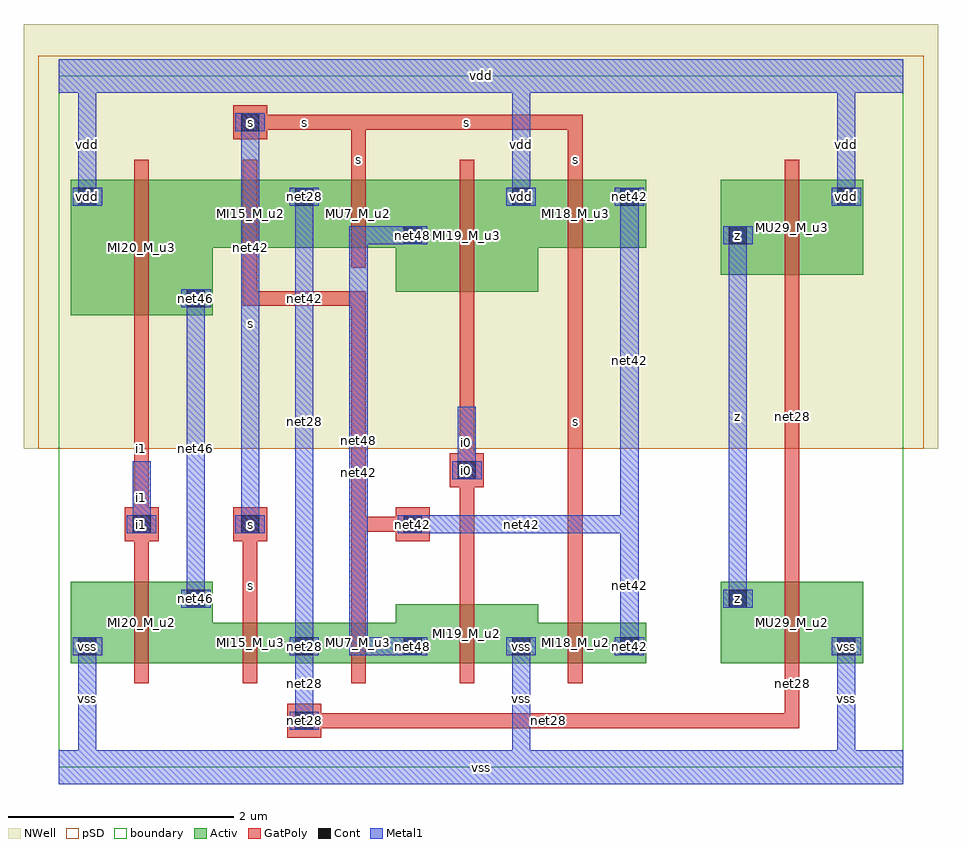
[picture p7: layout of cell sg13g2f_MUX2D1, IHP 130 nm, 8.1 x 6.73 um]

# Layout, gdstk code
import gdstk
lib = gdstk.Library(unit=1e-6, precision=1e-09)
def R(c, l, rs):  # rectangles x0, y0, x1, y1
    for r in rs: c.add(gdstk.rectangle(r[:2], r[2:], *l))
def A(c, l, x, y, w, h, nx, ny, dx, dy):  # array of equal rectangles
    R(c, l, [(x+i*dx, y+j*dy, x+i*dx+w, y+j*dy+h) for i in range(nx) for j in range(ny)])
Activ = (1, 0)
GatPoly = (5, 0)
Cont = (6, 0)
Metal1 = (8, 0)
pSD = (14, 0)
NWell = (31, 0)
TEXT = (63, 0)
boundary = (189, 4)

sg13g2f_mux2d1 = lib.new_cell('sg13g2f_MUX2D1')
A(sg13g2f_mux2d1, Activ, 2.025, 0.92, 0.3, 0.3, 4, 1, 0.96, 0)
A(sg13g2f_mux2d1, Activ, 0.105, 4.9, 0.3, 0.3, 3, 1, 1.92, 0)
R(sg13g2f_mux2d1, Activ, [(0.105,0.92,1.365,1.64), (0.105,0.92,0.405,1.22), (1.065,0.92,2.325,1.28), (2.025,0.92,3.285,1.28), (2.985,0.92,4.245,1.44), (3.945,0.92,5.205,1.28), (5.865,0.92,7.125,1.64), (6.825,0.92,7.125,1.22), (1.065,1.34,1.365,1.64), (5.865,1.34,6.165,1.64), (0.105,4,1.365,5.2), (1.065,4,1.365,4.3), (2.985,4.21,4.245,5.2), (5.865,4.36,7.125,5.2), (2.985,4.56,3.285,4.86), (5.865,4.56,6.165,4.86), (1.065,4.6,2.325,5.2), (2.025,4.6,3.285,5.2), (3.945,4.6,5.205,5.2), (4.905,4.9,5.205,5.2), (6.825,4.9,7.125,5.2)])
R(sg13g2f_mux2d1, GatPoly, [(2.025,0.26,2.325,0.56), (2.11,0.345,6.56,0.475), (6.43,0.345,6.56,1.135), (0.67,0.74,0.8,1.82), (1.63,0.74,1.76,1.46), (2.59,0.74,2.72,1.46), (3.55,0.74,3.68,1.62), (4.51,0.74,4.64,1.46), (6.43,0.74,6.56,1.82), (1.63,1.005,1.76,2.215), (2.59,1.005,2.72,4.215), (3.55,1.005,3.68,4.775), (4.51,1.005,4.64,5.115), (0.67,1.425,0.8,4.215), (6.43,1.425,6.56,4.775), (0.585,2,0.885,2.3), (1.545,2,1.845,2.3), (2.985,2,3.285,2.3), (2.59,2.085,3.2,2.215), (3.465,2.48,3.765,2.78), (0.67,3.82,0.8,5.38), (3.55,4.03,3.68,5.38), (1.63,4.085,2.72,4.215), (1.63,4.085,1.76,5.115), (6.43,4.18,6.56,5.38), (1.63,4.42,1.76,5.38), (2.59,4.42,2.72,5.38), (4.51,4.42,4.64,5.38), (2.59,4.985,2.72,5.775), (4.51,4.985,4.64,5.775), (1.545,5.56,1.845,5.86), (1.63,5.645,2.72,5.775), (2.59,5.645,4.64,5.775)])
A(sg13g2f_mux2d1, Cont, 2.095, 0.99, 0.16, 0.16, 4, 1, 0.96, 0)
A(sg13g2f_mux2d1, Cont, 0.175, 4.97, 0.16, 0.16, 3, 1, 1.92, 0)
R(sg13g2f_mux2d1, Cont, [(2.095,0.33,2.255,0.49), (0.175,0.99,0.335,1.15), (6.895,0.99,7.055,1.15), (1.135,1.41,1.295,1.57), (5.935,1.41,6.095,1.57), (0.655,2.07,0.815,2.23), (1.615,2.07,1.775,2.23), (3.055,2.07,3.215,2.23), (3.535,2.55,3.695,2.71), (1.135,4.07,1.295,4.23), (3.055,4.63,3.215,4.79), (5.935,4.63,6.095,4.79), (4.975,4.97,5.135,5.13), (6.895,4.97,7.055,5.13), (1.615,5.63,1.775,5.79)])
A(sg13g2f_mux2d1, Metal1, 2.045, 0.99, 0.26, 0.16, 4, 1, 0.96, 0)
A(sg13g2f_mux2d1, Metal1, 0.125, 4.97, 0.26, 0.16, 3, 1, 1.92, 0)
R(sg13g2f_mux2d1, Metal1, [(0,-0.15,7.48,0.15), (0.175,0.07,0.335,1.15), (4.015,0.07,4.175,1.15), (6.895,0.07,7.055,1.15), (2.045,0.33,2.305,0.49), (2.095,0.33,2.255,1.15), (0.125,0.99,0.385,1.15), (2.095,0.99,2.255,5.13), (2.575,0.99,3.215,1.15), (2.575,0.99,2.735,4.79), (4.975,0.99,5.135,2.23), (6.845,0.99,7.105,1.15), (1.085,1.41,1.345,1.57), (1.135,1.41,1.295,4.23), (5.885,1.41,6.145,1.57), (5.935,1.41,6.095,4.79), (0.605,2.07,0.865,2.23), (0.655,2.07,0.815,2.71), (1.565,2.07,1.825,2.23), (1.615,2.07,1.775,5.79), (3.005,2.07,3.265,2.23), (3.055,2.07,5.135,2.23), (4.975,2.07,5.135,5.13), (3.485,2.55,3.745,2.71), (3.535,2.55,3.695,3.19), (1.085,4.07,1.345,4.23), (2.575,4.63,3.215,4.79), (3.005,4.63,3.265,4.79), (5.885,4.63,6.145,4.79), (0.175,4.97,0.335,6.05), (4.015,4.97,4.175,6.05), (4.925,4.97,5.185,5.13), (6.845,4.97,7.105,5.13), (6.895,4.97,7.055,6.05), (1.565,5.63,1.825,5.79), (0,5.97,7.48,6.27)])
R(sg13g2f_mux2d1, pSD, [(-0.18,2.82,7.66,5.94), (-0.18,5.94,7.66,6.3)])
R(sg13g2f_mux2d1, NWell, [(-0.31,2.82,7.79,6.58)])
R(sg13g2f_mux2d1, boundary, [(0,0,7.48,6.12)])
sg13g2f_mux2d1.add(gdstk.FlexPath([(0.105,0.41),(7.125,0.41)], 0, ends="flush", simple_path=True, layer=63, datatype=0))  # TEXT
sg13g2f_mux2d1.add(gdstk.FlexPath([(0.105,1.07),(7.125,1.07)], 0, ends="flush", simple_path=True, layer=63, datatype=0))  # TEXT
sg13g2f_mux2d1.add(gdstk.FlexPath([(0.105,1.49),(7.125,1.49)], 0, ends="flush", simple_path=True, layer=63, datatype=0))  # TEXT
sg13g2f_mux2d1.add(gdstk.FlexPath([(0.105,2.15),(7.125,2.15)], 0, ends="flush", simple_path=True, layer=63, datatype=0))  # TEXT
sg13g2f_mux2d1.add(gdstk.FlexPath([(0.105,2.63),(7.125,2.63)], 0, ends="flush", simple_path=True, layer=63, datatype=0))  # TEXT
sg13g2f_mux2d1.add(gdstk.FlexPath([(0.105,3.11),(7.125,3.11)], 0, ends="flush", simple_path=True, layer=63, datatype=0))  # TEXT
sg13g2f_mux2d1.add(gdstk.FlexPath([(0.105,4.15),(7.125,4.15)], 0, ends="flush", simple_path=True, layer=63, datatype=0))  # TEXT
sg13g2f_mux2d1.add(gdstk.FlexPath([(0.105,4.71),(7.125,4.71)], 0, ends="flush", simple_path=True, layer=63, datatype=0))  # TEXT
sg13g2f_mux2d1.add(gdstk.FlexPath([(0.105,5.05),(7.125,5.05)], 0, ends="flush", simple_path=True, layer=63, datatype=0))  # TEXT
sg13g2f_mux2d1.add(gdstk.FlexPath([(0.105,5.71),(7.125,5.71)], 0, ends="flush", simple_path=True, layer=63, datatype=0))  # TEXT
sg13g2f_mux2d1.add(gdstk.FlexPath([(0.255,0.07),(0.255,6.05)], 0, ends="flush", simple_path=True, layer=63, datatype=0))  # TEXT
sg13g2f_mux2d1.add(gdstk.FlexPath([(0.735,0.07),(0.735,6.05)], 0, ends="flush", simple_path=True, layer=63, datatype=0))  # TEXT
sg13g2f_mux2d1.add(gdstk.FlexPath([(1.215,0.07),(1.215,6.05)], 0, ends="flush", simple_path=True, layer=63, datatype=0))  # TEXT
sg13g2f_mux2d1.add(gdstk.FlexPath([(1.695,0.07),(1.695,6.05)], 0, ends="flush", simple_path=True, layer=63, datatype=0))  # TEXT
sg13g2f_mux2d1.add(gdstk.FlexPath([(2.175,0.07),(2.175,6.05)], 0, ends="flush", simple_path=True, layer=63, datatype=0))  # TEXT
sg13g2f_mux2d1.add(gdstk.FlexPath([(2.655,0.07),(2.655,6.05)], 0, ends="flush", simple_path=True, layer=63, datatype=0))  # TEXT
sg13g2f_mux2d1.add(gdstk.FlexPath([(3.135,0.07),(3.135,6.05)], 0, ends="flush", simple_path=True, layer=63, datatype=0))  # TEXT
sg13g2f_mux2d1.add(gdstk.FlexPath([(3.615,0.07),(3.615,6.05)], 0, ends="flush", simple_path=True, layer=63, datatype=0))  # TEXT
sg13g2f_mux2d1.add(gdstk.FlexPath([(4.095,0.07),(4.095,6.05)], 0, ends="flush", simple_path=True, layer=63, datatype=0))  # TEXT
sg13g2f_mux2d1.add(gdstk.FlexPath([(4.575,0.07),(4.575,6.05)], 0, ends="flush", simple_path=True, layer=63, datatype=0))  # TEXT
sg13g2f_mux2d1.add(gdstk.FlexPath([(5.055,0.07),(5.055,6.05)], 0, ends="flush", simple_path=True, layer=63, datatype=0))  # TEXT
sg13g2f_mux2d1.add(gdstk.FlexPath([(5.535,0.07),(5.535,6.05)], 0, ends="flush", simple_path=True, layer=63, datatype=0))  # TEXT
sg13g2f_mux2d1.add(gdstk.FlexPath([(6.015,0.07),(6.015,6.05)], 0, ends="flush", simple_path=True, layer=63, datatype=0))  # TEXT
sg13g2f_mux2d1.add(gdstk.FlexPath([(6.495,0.07),(6.495,6.05)], 0, ends="flush", simple_path=True, layer=63, datatype=0))  # TEXT
sg13g2f_mux2d1.add(gdstk.FlexPath([(6.975,0.07),(6.975,6.05)], 0, ends="flush", simple_path=True, layer=63, datatype=0))  # TEXT
sg13g2f_mux2d1.add(gdstk.Label('net46', (1.215,1.49), layer=6, texttype=0))
sg13g2f_mux2d1.add(gdstk.Label('net46', (1.215,4.15), layer=6, texttype=0))
sg13g2f_mux2d1.add(gdstk.Label('s', (1.695,2.15), layer=6, texttype=0))
sg13g2f_mux2d1.add(gdstk.Label('s', (1.695,5.71), layer=6, texttype=0))
sg13g2f_mux2d1.add(gdstk.Label('net28', (2.175,1.07), layer=6, texttype=0))
sg13g2f_mux2d1.add(gdstk.Label('net28', (2.175,5.05), layer=6, texttype=0))
sg13g2f_mux2d1.add(gdstk.Label('net28', (2.175,0.41), layer=6, texttype=0))
sg13g2f_mux2d1.add(gdstk.Label('net48', (3.135,1.07), layer=6, texttype=0))
sg13g2f_mux2d1.add(gdstk.Label('net48', (3.135,4.71), layer=6, texttype=0))
sg13g2f_mux2d1.add(gdstk.Label('net42', (5.055,1.07), layer=6, texttype=0))
sg13g2f_mux2d1.add(gdstk.Label('net42', (5.055,5.05), layer=6, texttype=0))
sg13g2f_mux2d1.add(gdstk.Label('net42', (3.135,2.15), layer=6, texttype=0))
sg13g2f_mux2d1.add(gdstk.Label('i1', (0.735,2.15), layer=6, texttype=0))
sg13g2f_mux2d1.add(gdstk.Label('i0', (3.615,2.63), layer=6, texttype=0))
sg13g2f_mux2d1.add(gdstk.Label('z', (6.015,1.49), layer=6, texttype=0))
sg13g2f_mux2d1.add(gdstk.Label('z', (6.015,4.71), layer=6, texttype=0))
sg13g2f_mux2d1.add(gdstk.Label('vss', (0.255,1.07), layer=6, texttype=0))
sg13g2f_mux2d1.add(gdstk.Label('vss', (4.095,1.07), layer=6, texttype=0))
sg13g2f_mux2d1.add(gdstk.Label('vss', (6.975,1.07), layer=6, texttype=0))
sg13g2f_mux2d1.add(gdstk.Label('vdd', (0.255,5.05), layer=6, texttype=0))
sg13g2f_mux2d1.add(gdstk.Label('vdd', (4.095,5.05), layer=6, texttype=0))
sg13g2f_mux2d1.add(gdstk.Label('vdd', (6.975,5.05), layer=6, texttype=0))
sg13g2f_mux2d1.add(gdstk.Label('net46', (1.215,1.49), layer=8, texttype=0))
sg13g2f_mux2d1.add(gdstk.Label('net46', (1.215,4.15), layer=8, texttype=0))
sg13g2f_mux2d1.add(gdstk.Label('net46', (1.215,2.82), layer=8, texttype=0))
sg13g2f_mux2d1.add(gdstk.Label('net28', (2.175,1.07), layer=8, texttype=0))
sg13g2f_mux2d1.add(gdstk.Label('net28', (2.175,5.05), layer=8, texttype=0))
sg13g2f_mux2d1.add(gdstk.Label('net28', (2.175,0.74), layer=8, texttype=0))
sg13g2f_mux2d1.add(gdstk.Label('net28', (2.175,0.41), layer=8, texttype=0))
sg13g2f_mux2d1.add(gdstk.Label('net28', (2.175,3.06), layer=8, texttype=0))
sg13g2f_mux2d1.add(gdstk.Label('net48', (3.135,1.07), layer=8, texttype=0))
sg13g2f_mux2d1.add(gdstk.Label('net48', (3.135,4.71), layer=8, texttype=0))
sg13g2f_mux2d1.add(gdstk.Label('net48', (2.895,1.07), layer=8, texttype=0))
sg13g2f_mux2d1.add(gdstk.Label('net48', (2.655,2.89), layer=8, texttype=0))
sg13g2f_mux2d1.add(gdstk.Label('net48', (2.895,4.71), layer=8, texttype=0))
sg13g2f_mux2d1.add(gdstk.Label('net42', (5.055,1.07), layer=8, texttype=0))
sg13g2f_mux2d1.add(gdstk.Label('net42', (5.055,5.05), layer=8, texttype=0))
sg13g2f_mux2d1.add(gdstk.Label('net42', (5.055,1.61), layer=8, texttype=0))
sg13g2f_mux2d1.add(gdstk.Label('net42', (4.095,2.15), layer=8, texttype=0))
sg13g2f_mux2d1.add(gdstk.Label('net42', (3.135,2.15), layer=8, texttype=0))
sg13g2f_mux2d1.add(gdstk.Label('net42', (5.055,3.6), layer=8, texttype=0))
sg13g2f_mux2d1.add(gdstk.Label('vss', (0.255,1.07), layer=8, texttype=0))
sg13g2f_mux2d1.add(gdstk.Label('vss', (0.255,0.61), layer=8, texttype=0))
sg13g2f_mux2d1.add(gdstk.Label('vss', (4.095,1.07), layer=8, texttype=0))
sg13g2f_mux2d1.add(gdstk.Label('vss', (4.095,0.61), layer=8, texttype=0))
sg13g2f_mux2d1.add(gdstk.Label('vss', (6.975,1.07), layer=8, texttype=0))
sg13g2f_mux2d1.add(gdstk.Label('vss', (6.975,0.61), layer=8, texttype=0))
sg13g2f_mux2d1.add(gdstk.Label('vdd', (0.255,5.05), layer=8, texttype=0))
sg13g2f_mux2d1.add(gdstk.Label('vdd', (0.255,5.51), layer=8, texttype=0))
sg13g2f_mux2d1.add(gdstk.Label('vdd', (4.095,5.05), layer=8, texttype=0))
sg13g2f_mux2d1.add(gdstk.Label('vdd', (4.095,5.51), layer=8, texttype=0))
sg13g2f_mux2d1.add(gdstk.Label('vdd', (6.975,5.05), layer=8, texttype=0))
sg13g2f_mux2d1.add(gdstk.Label('vdd', (6.975,5.51), layer=8, texttype=0))
sg13g2f_mux2d1.add(gdstk.Label('s', (1.695,2.15), layer=8, texttype=2))
sg13g2f_mux2d1.add(gdstk.Label('s', (1.695,3.93), layer=8, texttype=2))
sg13g2f_mux2d1.add(gdstk.Label('s', (1.695,5.71), layer=8, texttype=2))
sg13g2f_mux2d1.add(gdstk.Label('i1', (0.735,2.15), layer=8, texttype=2))
sg13g2f_mux2d1.add(gdstk.Label('i1', (0.735,2.39), layer=8, texttype=2))
sg13g2f_mux2d1.add(gdstk.Label('i0', (3.615,2.63), layer=8, texttype=2))
sg13g2f_mux2d1.add(gdstk.Label('i0', (3.615,2.87), layer=8, texttype=2))
sg13g2f_mux2d1.add(gdstk.Label('z', (6.015,1.49), layer=8, texttype=2))
sg13g2f_mux2d1.add(gdstk.Label('z', (6.015,4.71), layer=8, texttype=2))
sg13g2f_mux2d1.add(gdstk.Label('z', (6.015,3.1), layer=8, texttype=2))
sg13g2f_mux2d1.add(gdstk.Label('vss', (3.74,0), layer=8, texttype=2))
sg13g2f_mux2d1.add(gdstk.Label('vdd', (3.74,6.12), layer=8, texttype=2))
sg13g2f_mux2d1.add(gdstk.Label('s', (1.695,2.15), layer=8, texttype=2))
sg13g2f_mux2d1.add(gdstk.Label('s', (1.695,3.93), layer=8, texttype=2))
sg13g2f_mux2d1.add(gdstk.Label('s', (1.695,5.71), layer=8, texttype=2))
sg13g2f_mux2d1.add(gdstk.Label('i1', (0.735,2.15), layer=8, texttype=2))
sg13g2f_mux2d1.add(gdstk.Label('i1', (0.735,2.39), layer=8, texttype=2))
sg13g2f_mux2d1.add(gdstk.Label('i0', (3.615,2.63), layer=8, texttype=2))
sg13g2f_mux2d1.add(gdstk.Label('i0', (3.615,2.87), layer=8, texttype=2))
sg13g2f_mux2d1.add(gdstk.Label('z', (6.015,1.49), layer=8, texttype=2))
sg13g2f_mux2d1.add(gdstk.Label('z', (6.015,4.71), layer=8, texttype=2))
sg13g2f_mux2d1.add(gdstk.Label('z', (6.015,3.1), layer=8, texttype=2))
sg13g2f_mux2d1.add(gdstk.Label('vss', (3.74,0), layer=8, texttype=2))
sg13g2f_mux2d1.add(gdstk.Label('vdd', (3.74,6.12), layer=8, texttype=2))
sg13g2f_mux2d1.add(gdstk.Label('MI15_M_u3', (1.695,1.1), layer=1, texttype=0))
sg13g2f_mux2d1.add(gdstk.Label('MU7_M_u3', (2.655,1.1), layer=1, texttype=0))
sg13g2f_mux2d1.add(gdstk.Label('MI20_M_u2', (0.735,1.28), layer=1, texttype=0))
sg13g2f_mux2d1.add(gdstk.Label('MI19_M_u2', (3.615,1.18), layer=1, texttype=0))
sg13g2f_mux2d1.add(gdstk.Label('MI18_M_u2', (4.575,1.1), layer=1, texttype=0))
sg13g2f_mux2d1.add(gdstk.Label('MU29_M_u2', (6.495,1.28), layer=1, texttype=0))
sg13g2f_mux2d1.add(gdstk.Label('MI15_M_u2', (1.695,4.9), layer=1, texttype=0))
sg13g2f_mux2d1.add(gdstk.Label('MU7_M_u2', (2.655,4.9), layer=1, texttype=0))
sg13g2f_mux2d1.add(gdstk.Label('MI20_M_u3', (0.735,4.6), layer=1, texttype=0))
sg13g2f_mux2d1.add(gdstk.Label('MI19_M_u3', (3.615,4.705), layer=1, texttype=0))
sg13g2f_mux2d1.add(gdstk.Label('MI18_M_u3', (4.575,4.9), layer=1, texttype=0))
sg13g2f_mux2d1.add(gdstk.Label('MU29_M_u3', (6.495,4.78), layer=1, texttype=0))
sg13g2f_mux2d1.add(gdstk.Label('net46', (1.215,1.49), layer=1, texttype=0))
sg13g2f_mux2d1.add(gdstk.Label('net46', (1.215,4.15), layer=1, texttype=0))
sg13g2f_mux2d1.add(gdstk.Label('net28', (2.175,1.07), layer=1, texttype=0))
sg13g2f_mux2d1.add(gdstk.Label('net28', (2.175,5.05), layer=1, texttype=0))
sg13g2f_mux2d1.add(gdstk.Label('net48', (3.135,1.07), layer=1, texttype=0))
sg13g2f_mux2d1.add(gdstk.Label('net48', (3.135,4.71), layer=1, texttype=0))
sg13g2f_mux2d1.add(gdstk.Label('net42', (5.055,1.07), layer=1, texttype=0))
sg13g2f_mux2d1.add(gdstk.Label('net42', (5.055,5.05), layer=1, texttype=0))
sg13g2f_mux2d1.add(gdstk.Label('z', (6.015,1.49), layer=1, texttype=0))
sg13g2f_mux2d1.add(gdstk.Label('z', (6.015,4.71), layer=1, texttype=0))
sg13g2f_mux2d1.add(gdstk.Label('vss', (0.255,1.07), layer=1, texttype=0))
sg13g2f_mux2d1.add(gdstk.Label('vss', (4.095,1.07), layer=1, texttype=0))
sg13g2f_mux2d1.add(gdstk.Label('vss', (6.975,1.07), layer=1, texttype=0))
sg13g2f_mux2d1.add(gdstk.Label('vdd', (0.255,5.05), layer=1, texttype=0))
sg13g2f_mux2d1.add(gdstk.Label('vdd', (4.095,5.05), layer=1, texttype=0))
sg13g2f_mux2d1.add(gdstk.Label('vdd', (6.975,5.05), layer=1, texttype=0))
sg13g2f_mux2d1.add(gdstk.Label('s', (1.695,2.15), layer=8, texttype=25))
sg13g2f_mux2d1.add(gdstk.Label('s', (1.695,3.93), layer=8, texttype=25))
sg13g2f_mux2d1.add(gdstk.Label('s', (1.695,5.71), layer=8, texttype=25))
sg13g2f_mux2d1.add(gdstk.Label('i1', (0.735,2.15), layer=8, texttype=25))
sg13g2f_mux2d1.add(gdstk.Label('i1', (0.735,2.39), layer=8, texttype=25))
sg13g2f_mux2d1.add(gdstk.Label('i0', (3.615,2.63), layer=8, texttype=25))
sg13g2f_mux2d1.add(gdstk.Label('i0', (3.615,2.87), layer=8, texttype=25))
sg13g2f_mux2d1.add(gdstk.Label('z', (6.015,1.49), layer=8, texttype=25))
sg13g2f_mux2d1.add(gdstk.Label('z', (6.015,4.71), layer=8, texttype=25))
sg13g2f_mux2d1.add(gdstk.Label('z', (6.015,3.1), layer=8, texttype=25))
sg13g2f_mux2d1.add(gdstk.Label('vss', (3.74,0), layer=8, texttype=25))
sg13g2f_mux2d1.add(gdstk.Label('vdd', (3.74,6.12), layer=8, texttype=25))
sg13g2f_mux2d1.add(gdstk.Label('s', (1.695,1.61), layer=5, texttype=0))
sg13g2f_mux2d1.add(gdstk.Label('s', (1.695,2.15), layer=5, texttype=0))
sg13g2f_mux2d1.add(gdstk.Label('s', (1.695,5.71), layer=5, texttype=0))
sg13g2f_mux2d1.add(gdstk.Label('s', (2.175,5.71), layer=5, texttype=0))
sg13g2f_mux2d1.add(gdstk.Label('s', (2.655,5.38), layer=5, texttype=0))
sg13g2f_mux2d1.add(gdstk.Label('s', (4.575,3.06), layer=5, texttype=0))
sg13g2f_mux2d1.add(gdstk.Label('s', (3.615,5.71), layer=5, texttype=0))
sg13g2f_mux2d1.add(gdstk.Label('s', (4.575,5.38), layer=5, texttype=0))
sg13g2f_mux2d1.add(gdstk.Label('net28', (2.175,0.41), layer=5, texttype=0))
sg13g2f_mux2d1.add(gdstk.Label('net28', (4.335,0.41), layer=5, texttype=0))
sg13g2f_mux2d1.add(gdstk.Label('net28', (6.495,0.74), layer=5, texttype=0))
sg13g2f_mux2d1.add(gdstk.Label('net28', (6.495,3.1), layer=5, texttype=0))
sg13g2f_mux2d1.add(gdstk.Label('net42', (2.655,2.61), layer=5, texttype=0))
sg13g2f_mux2d1.add(gdstk.Label('net42', (2.175,4.15), layer=5, texttype=0))
sg13g2f_mux2d1.add(gdstk.Label('net42', (1.695,4.6), layer=5, texttype=0))
sg13g2f_mux2d1.add(gdstk.Label('net42', (3.135,2.15), layer=5, texttype=0))
sg13g2f_mux2d1.add(gdstk.Label('net42', (2.895,2.15), layer=5, texttype=0))
sg13g2f_mux2d1.add(gdstk.Label('i1', (0.735,2.82), layer=5, texttype=0))
sg13g2f_mux2d1.add(gdstk.Label('i1', (0.735,2.15), layer=5, texttype=0))
sg13g2f_mux2d1.add(gdstk.Label('i0', (3.615,2.89), layer=5, texttype=0))
sg13g2f_mux2d1.add(gdstk.Label('i0', (3.615,2.63), layer=5, texttype=0))

lib.write_gds('sg13g2f_MUX2D1.gds')
